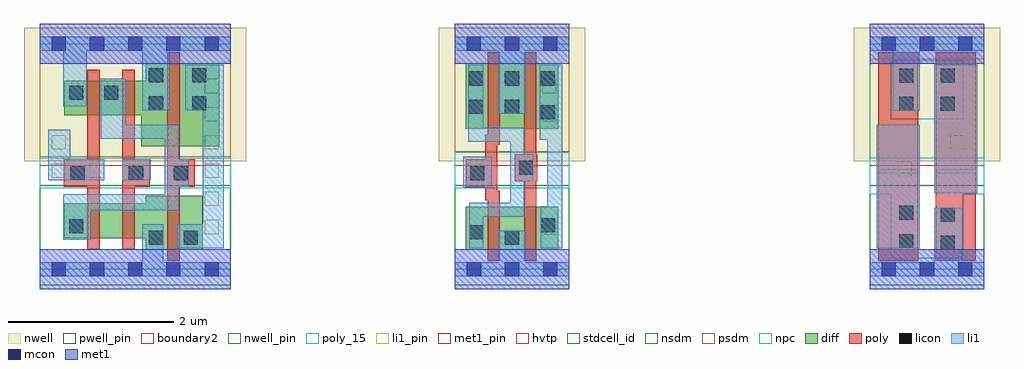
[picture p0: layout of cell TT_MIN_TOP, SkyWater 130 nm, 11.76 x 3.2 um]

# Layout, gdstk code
import gdstk
lib = gdstk.Library(unit=1e-6, precision=1e-09)
def R(c, l, rs):  # rectangles x0, y0, x1, y1
    for r in rs: c.add(gdstk.rectangle(r[:2], r[2:], *l))
def A(c, l, x, y, w, h, nx, ny, dx, dy):  # array of equal rectangles
    R(c, l, [(x+i*dx, y+j*dy, x+i*dx+w, y+j*dy+h) for i in range(nx) for j in range(ny)])
def P(c, l, *ps):  # polygons
    for p in ps: c.add(gdstk.Polygon(p, *l))
nwell_pin = (64, 16)
nwell = (64, 20)
diff = (65, 20)
poly_15 = (66, 15)
poly = (66, 20)
licon = (66, 44)
li1_pin = (67, 16)
li1 = (67, 20)
mcon = (67, 44)
met1_pin = (68, 16)
met1 = (68, 20)
hvtp = (78, 44)
stdcell_id = (81, 4)
nsdm = (93, 44)
psdm = (94, 20)
npc = (95, 20)
pwell_pin = (122, 16)
boundary2 = (236, 0)

sky130_fd_sc_hd__and2_1 = lib.new_cell('sky130_fd_sc_hd__and2_1')
R(sky130_fd_sc_hd__and2_1, nwell_pin, [(0.145,2.635,0.315,2.805)])
R(sky130_fd_sc_hd__and2_1, nwell, [(-0.19,1.305,2.49,2.91)])
P(sky130_fd_sc_hd__and2_1, diff, [(1.965,0.885),(1.275,0.885),(1.275,0.795),(0.295,0.795),(0.295,0.375),(1.275,0.375),(1.275,0.235),(1.965,0.235)],
  [(2.16,2.485),(1.275,2.485),(1.275,2.275),(0.295,2.275),(0.295,1.855),(1.225,1.855),(1.225,1.485),(2.16,1.485)])
P(sky130_fd_sc_hd__and2_1, poly, [(1.865,1.325),(1.685,1.325),(1.685,2.615),(1.535,2.615),(1.535,0.105),(1.685,0.105),(1.685,0.995),(1.865,0.995)],
  [(0.725,2.405),(0.575,2.405),(0.575,1.325),(0.29,1.325),(0.29,0.995),(0.575,0.995),(0.575,0.245),(0.725,0.245)],
  [(1.325,1.325),(1.145,1.325),(1.145,2.405),(0.995,2.405),(0.995,0.245),(1.145,0.245),(1.145,0.995),(1.325,0.995)])
R(sky130_fd_sc_hd__and2_1, licon, [(1.315,0.295,1.485,0.465), (1.735,0.295,1.905,0.465), (0.355,0.435,0.525,0.605), (0.37,1.075,0.54,1.245), (1.075,1.075,1.245,1.245), (1.615,1.075,1.785,1.245), (1.315,1.915,1.485,2.085), (1.835,1.915,2.005,2.085), (0.355,2.045,0.525,2.215), (0.775,2.045,0.945,2.215), (1.315,2.255,1.485,2.425), (1.835,2.255,2.005,2.425)])
A(sky130_fd_sc_hd__and2_1, li1_pin, 1.985, 0.425, 0.17, 0.17, 1, 6, 0, 0.34)
A(sky130_fd_sc_hd__and2_1, li1_pin, 0.145, 1.105, 0.17, 0.17, 3, 1, 0.46, 0)
R(sky130_fd_sc_hd__and2_1, li1_pin, [(0.145,1.445,0.315,1.615)])
R(sky130_fd_sc_hd__and2_1, li1, [(0.995,1.075,1.335,1.325)])
P(sky130_fd_sc_hd__and2_1, li1, [(2.215,2.465),(1.755,2.465),(1.755,1.915),(1.965,1.915),(1.965,0.545),(1.655,0.545),(1.655,0.255),(2.215,0.255)],
  [(2.3,2.805),(0,2.805),(0,2.635),(0.285,2.635),(0.285,1.965),(0.565,1.965),(0.565,2.635),(1.235,2.635),(1.235,1.915),(1.565,1.915),(1.565,2.635),(2.3,2.635)],
  [(0.1,1.075),(0.1,1.685),(0.365,1.685),(0.365,1.325),(0.775,1.325),(0.775,1.075)],
  [(2.3,0.085),(1.485,0.085),(1.485,0.545),(1.235,0.545),(1.235,0.085),(0,0.085),(0,-0.085),(2.3,-0.085)],
  [(1.795,1.325),(1.675,1.325),(1.675,1.745),(1.035,1.745),(1.035,2.295),(0.735,2.295),(0.735,1.575),(1.505,1.575),(1.505,0.905),(0.285,0.905),(0.285,0.355),(0.615,0.355),(0.615,0.715),(1.675,0.715),(1.675,0.995),(1.795,0.995)])
A(sky130_fd_sc_hd__and2_1, mcon, 0.145, -0.085, 0.17, 0.17, 5, 2, 0.46, 2.72)
R(sky130_fd_sc_hd__and2_1, met1_pin, [(0.145,-0.085,0.315,0.085), (0.145,2.635,0.315,2.805)])
R(sky130_fd_sc_hd__and2_1, hvtp, [(0,1.25,2.3,2.72)])
R(sky130_fd_sc_hd__and2_1, stdcell_id, [(0,0,2.3,2.72)])
R(sky130_fd_sc_hd__and2_1, nsdm, [(0,-0.19,2.3,1.015)])
R(sky130_fd_sc_hd__and2_1, psdm, [(0,1.355,2.3,2.91)])
R(sky130_fd_sc_hd__and2_1, npc, [(0,0.975,2.3,1.345)])
R(sky130_fd_sc_hd__and2_1, pwell_pin, [(0.145,-0.085,0.315,0.085)])
R(sky130_fd_sc_hd__and2_1, boundary2, [(0,0,2.3,2.72)])
sky130_fd_sc_hd__and2_1.add(gdstk.FlexPath([(0,0),(2.3,0)], 0.48, ends="flush", simple_path=True, layer=68, datatype=20))  # met1
sky130_fd_sc_hd__and2_1.add(gdstk.FlexPath([(0,2.72),(2.3,2.72)], 0.48, ends="flush", simple_path=True, layer=68, datatype=20))  # met1
sky130_fd_sc_hd__and2_1.add(gdstk.Label('VPWR', (0.23,2.72), layer=68, texttype=5))
sky130_fd_sc_hd__and2_1.add(gdstk.Label('VGND', (0.23,0), layer=68, texttype=5))
sky130_fd_sc_hd__and2_1.add(gdstk.Label('X', (2.07,0.85), layer=67, texttype=5))
sky130_fd_sc_hd__and2_1.add(gdstk.Label('X', (2.07,0.51), layer=67, texttype=5))
sky130_fd_sc_hd__and2_1.add(gdstk.Label('X', (2.07,1.19), layer=67, texttype=5))
sky130_fd_sc_hd__and2_1.add(gdstk.Label('X', (2.07,1.53), layer=67, texttype=5))
sky130_fd_sc_hd__and2_1.add(gdstk.Label('X', (2.07,1.87), layer=67, texttype=5))
sky130_fd_sc_hd__and2_1.add(gdstk.Label('X', (2.07,2.21), layer=67, texttype=5))
sky130_fd_sc_hd__and2_1.add(gdstk.Label('B', (1.15,1.19), layer=67, texttype=5))
sky130_fd_sc_hd__and2_1.add(gdstk.Label('A', (0.69,1.19), layer=67, texttype=5))
sky130_fd_sc_hd__and2_1.add(gdstk.Label('A', (0.23,1.19), layer=67, texttype=5))
sky130_fd_sc_hd__and2_1.add(gdstk.Label('VPB', (0.23,2.72), layer=64, texttype=5))
sky130_fd_sc_hd__and2_1.add(gdstk.Label('VNB', (0.23,0), layer=64, texttype=59))
sky130_fd_sc_hd__and2_1.add(gdstk.Label('and2_1', (0,0), layer=83, texttype=44))

sky130_fd_sc_hd__buf_1 = lib.new_cell('sky130_fd_sc_hd__buf_1')
R(sky130_fd_sc_hd__buf_1, nwell_pin, [(0.145,2.635,0.315,2.805)])
R(sky130_fd_sc_hd__buf_1, nwell, [(-0.19,1.305,1.57,2.91)])
R(sky130_fd_sc_hd__buf_1, diff, [(0.135,0.235,1.245,0.755), (0.135,1.695,1.245,2.485)])
P(sky130_fd_sc_hd__buf_1, poly, [(0.995,1.39),(0.985,1.39),(0.985,2.615),(0.835,2.615),(0.835,1.39),(0.725,1.39),(0.725,1.06),(0.835,1.06),(0.835,0.105),(0.985,0.105),(0.985,1.06),(0.995,1.06)],
  [(0.545,0.95),(0.515,0.95),(0.515,1.5),(0.545,1.5),(0.545,2.615),(0.395,2.615),(0.395,1.62),(0.365,1.62),(0.365,1.325),(0.135,1.325),(0.135,0.995),(0.365,0.995),(0.365,0.83),(0.395,0.83),(0.395,0.105),(0.545,0.105)])
A(sky130_fd_sc_hd__buf_1, licon, 0.175, 2.215, 0.17, 0.17, 3, 1, 0.43, 0)
R(sky130_fd_sc_hd__buf_1, licon, [(0.605,0.295,0.775,0.465), (0.175,0.36,0.345,0.53), (1.035,0.445,1.205,0.615), (0.185,1.075,0.355,1.245), (0.775,1.14,0.945,1.31), (1.035,1.81,1.205,1.98), (0.175,1.875,0.345,2.045), (0.605,1.875,0.775,2.045)])
R(sky130_fd_sc_hd__buf_1, li1_pin, [(0.155,-0.085,0.325,0.085), (1.055,0.425,1.225,0.595), (0.145,1.105,0.315,1.275), (1.055,1.785,1.225,1.955), (1.055,2.125,1.225,2.295), (0.145,2.635,0.315,2.805)])
R(sky130_fd_sc_hd__buf_1, li1, [(0.105,0.985,0.445,1.355)])
P(sky130_fd_sc_hd__buf_1, li1, [(1.295,2.465),(1.025,2.465),(1.025,1.56),(1.115,1.56),(1.115,0.76),(1.035,0.76),(1.035,0.255),(1.295,0.255)],
  [(1.38,0.085),(0.855,0.085),(0.855,0.465),(0.525,0.465),(0.525,0.085),(0,0.085),(0,-0.085),(1.38,-0.085)],
  [(0.945,1.39),(0.84,1.39),(0.84,1.705),(0.345,1.705),(0.345,2.465),(0.165,2.465),(0.165,1.535),(0.67,1.535),(0.67,0.805),(0.175,0.805),(0.175,0.255),(0.345,0.255),(0.345,0.635),(0.84,0.635),(0.84,1.06),(0.945,1.06)],
  [(1.38,2.805),(0,2.805),(0,2.635),(0.525,2.635),(0.525,1.875),(0.855,1.875),(0.855,2.635),(1.38,2.635)])
A(sky130_fd_sc_hd__buf_1, mcon, 0.145, -0.085, 0.17, 0.17, 3, 2, 0.46, 2.72)
R(sky130_fd_sc_hd__buf_1, met1_pin, [(0.155,-0.085,0.325,0.085), (0.145,2.635,0.315,2.805)])
R(sky130_fd_sc_hd__buf_1, hvtp, [(0,1.25,1.38,2.72)])
R(sky130_fd_sc_hd__buf_1, stdcell_id, [(0,0,1.38,2.72)])
R(sky130_fd_sc_hd__buf_1, nsdm, [(0,-0.19,1.38,1.015)])
R(sky130_fd_sc_hd__buf_1, psdm, [(0,1.42,1.38,2.91)])
R(sky130_fd_sc_hd__buf_1, npc, [(0,0.975,1.38,1.41)])
R(sky130_fd_sc_hd__buf_1, pwell_pin, [(0.155,-0.085,0.325,0.085)])
R(sky130_fd_sc_hd__buf_1, boundary2, [(0,0,1.38,2.72)])
sky130_fd_sc_hd__buf_1.add(gdstk.FlexPath([(0,0),(1.38,0)], 0.48, ends="flush", simple_path=True, layer=68, datatype=20))  # met1
sky130_fd_sc_hd__buf_1.add(gdstk.FlexPath([(0,2.72),(1.38,2.72)], 0.48, ends="flush", simple_path=True, layer=68, datatype=20))  # met1
sky130_fd_sc_hd__buf_1.add(gdstk.Label('VGND', (0.23,0), layer=68, texttype=5))
sky130_fd_sc_hd__buf_1.add(gdstk.Label('VPWR', (0.23,2.72), layer=68, texttype=5))
sky130_fd_sc_hd__buf_1.add(gdstk.Label('VPWR', (0.23,2.72), layer=67, texttype=5))
sky130_fd_sc_hd__buf_1.add(gdstk.Label('VGND', (0.23,0), layer=67, texttype=5))
sky130_fd_sc_hd__buf_1.add(gdstk.Label('X', (1.14,0.51), layer=67, texttype=5))
sky130_fd_sc_hd__buf_1.add(gdstk.Label('X', (1.14,1.87), layer=67, texttype=5))
sky130_fd_sc_hd__buf_1.add(gdstk.Label('X', (1.14,2.21), layer=67, texttype=5))
sky130_fd_sc_hd__buf_1.add(gdstk.Label('A', (0.23,1.19), layer=67, texttype=5))
sky130_fd_sc_hd__buf_1.add(gdstk.Label('VPB', (0.23,2.72), layer=64, texttype=5))
sky130_fd_sc_hd__buf_1.add(gdstk.Label('VNB', (0.23,0), layer=64, texttype=59))
sky130_fd_sc_hd__buf_1.add(gdstk.Label('buf_1', (0,0), layer=83, texttype=44))

sky130_fd_sc_hd__conb_1 = lib.new_cell('sky130_fd_sc_hd__conb_1')
R(sky130_fd_sc_hd__conb_1, nwell_pin, [(0.145,2.635,0.315,2.805)])
R(sky130_fd_sc_hd__conb_1, nwell, [(-0.19,1.305,1.57,2.91)])
R(sky130_fd_sc_hd__conb_1, poly_15, [(0.105,1.16,0.585,1.205), (0.795,1.16,1.275,1.205)])
R(sky130_fd_sc_hd__conb_1, poly, [(0.105,0.105,0.585,2.615), (0.795,0.105,1.275,2.615)])
R(sky130_fd_sc_hd__conb_1, licon, [(0.855,0.235,1.025,0.405), (0.355,0.255,0.525,0.425), (0.855,0.575,1.025,0.745), (0.355,0.595,0.525,0.765), (0.355,1.91,0.525,2.08), (0.855,1.91,1.025,2.08), (0.355,2.25,0.525,2.42), (0.855,2.25,1.025,2.42)])
R(sky130_fd_sc_hd__conb_1, li1_pin, [(0.335,1.125,0.505,1.295), (0.97,1.445,1.14,1.615)])
R(sky130_fd_sc_hd__conb_1, li1, [(0.085,0.255,0.605,1.74), (0.775,0.915,1.295,2.465)])
P(sky130_fd_sc_hd__conb_1, li1, [(1.38,0.085),(1.115,0.085),(1.115,0.745),(0.775,0.745),(0.775,0.085),(0,0.085),(0,-0.085),(1.38,-0.085)],
  [(1.38,2.805),(0,2.805),(0,2.635),(0.275,2.635),(0.275,1.91),(0.605,1.91),(0.605,2.635),(1.38,2.635)])
A(sky130_fd_sc_hd__conb_1, mcon, 0.145, -0.085, 0.17, 0.17, 3, 2, 0.46, 2.72)
R(sky130_fd_sc_hd__conb_1, met1_pin, [(0.145,-0.085,0.315,0.085), (0.145,2.635,0.315,2.805)])
R(sky130_fd_sc_hd__conb_1, hvtp, [(0,1.25,1.38,2.72)])
R(sky130_fd_sc_hd__conb_1, stdcell_id, [(0,0,1.38,2.72)])
R(sky130_fd_sc_hd__conb_1, nsdm, [(0,-0.19,1.38,1.015)])
R(sky130_fd_sc_hd__conb_1, psdm, [(0,2.53,1.38,2.91)])
R(sky130_fd_sc_hd__conb_1, npc, [(0.255,1.81,1.125,2.52)])
P(sky130_fd_sc_hd__conb_1, npc, [(1.38,1.345),(0,1.345),(0,0.905),(0.255,0.905),(0.255,0.135),(1.125,0.135),(1.125,0.905),(1.38,0.905)])
R(sky130_fd_sc_hd__conb_1, pwell_pin, [(0.145,-0.085,0.315,0.085)])
R(sky130_fd_sc_hd__conb_1, boundary2, [(0,0,1.38,2.72)])
sky130_fd_sc_hd__conb_1.add(gdstk.FlexPath([(0,0),(1.38,0)], 0.48, ends="flush", simple_path=True, layer=68, datatype=20))  # met1
sky130_fd_sc_hd__conb_1.add(gdstk.FlexPath([(0,2.72),(1.38,2.72)], 0.48, ends="flush", simple_path=True, layer=68, datatype=20))  # met1
sky130_fd_sc_hd__conb_1.add(gdstk.Label('LO', (1.055,1.53), layer=67, texttype=5))
sky130_fd_sc_hd__conb_1.add(gdstk.Label('HI', (0.42,1.21), layer=67, texttype=5))
sky130_fd_sc_hd__conb_1.add(gdstk.Label('VPB', (0.23,2.72), layer=64, texttype=5))
sky130_fd_sc_hd__conb_1.add(gdstk.Label('VNB', (0.23,0), layer=64, texttype=59))
sky130_fd_sc_hd__conb_1.add(gdstk.Label('VGND', (0.23,0), layer=68, texttype=5))
sky130_fd_sc_hd__conb_1.add(gdstk.Label('VPWR', (0.23,2.72), layer=68, texttype=5))
sky130_fd_sc_hd__conb_1.add(gdstk.Label('conb_1', (0,0), layer=83, texttype=44))
sky130_fd_sc_hd__conb_1.add(gdstk.Label('resistive_li1_ok', (0.225,1.365), layer=83, texttype=44))
sky130_fd_sc_hd__conb_1.add(gdstk.Label('resistive_li1_ok', (1.165,1.365), layer=83, texttype=44))
sky130_fd_sc_hd__conb_1.add(gdstk.Label('no_jumper_check', (0.93,1.29), layer=83, texttype=44))
sky130_fd_sc_hd__conb_1.add(gdstk.Label('no_jumper_check', (0.415,1.29), layer=83, texttype=44))

tt_min_top = lib.new_cell('TT_MIN_TOP')
tt_min_top.add(gdstk.Reference(sky130_fd_sc_hd__and2_1, (0,0)))
tt_min_top.add(gdstk.Reference(sky130_fd_sc_hd__buf_1, (5,0)))
tt_min_top.add(gdstk.Reference(sky130_fd_sc_hd__conb_1, (10,0)))

lib.write_gds('TT_MIN_TOP.gds')
